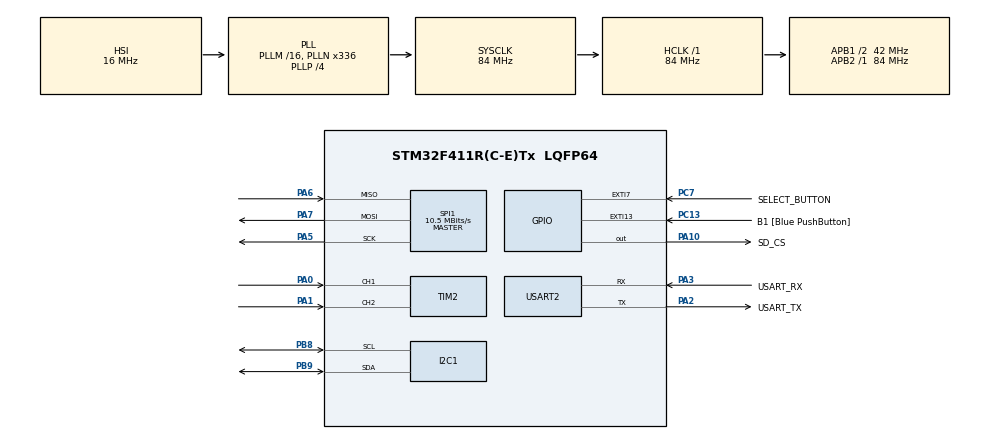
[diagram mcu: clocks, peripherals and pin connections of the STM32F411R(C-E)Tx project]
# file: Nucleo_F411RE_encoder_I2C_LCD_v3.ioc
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Mcu.Family=STM32F4
Mcu.Name=STM32F411R(C-E)Tx
Mcu.Package=LQFP64
NVIC.EXTI9_5_IRQn=true\:0\:0\:false\:false\:true\:true\:true
NVIC.PriorityGroup=NVIC_PRIORITYGROUP_0
NVIC.TIM1_UP_TIM10_IRQn=true\:0\:0\:false\:false\:true\:true\:true
PA0-WKUP.Signal=S_TIM2_CH1_ETR
PA1.Signal=S_TIM2_CH2
PA10.GPIO_Label=SD_CS
PA10.Signal=GPIO_Output
PA13.GPIO_Label=TMS
PA13.Mode=Serial_Wire
PA13.Signal=SYS_JTMS-SWDIO
PA14.GPIO_Label=TCK
PA14.Mode=Serial_Wire
PA14.Signal=SYS_JTCK-SWCLK
PA2.GPIO_Label=USART_TX
PA2.Mode=Asynchronous
PA2.Signal=USART2_TX
PA3.GPIO_Label=USART_RX
PA3.Mode=Asynchronous
PA3.Signal=USART2_RX
PA5.Mode=Full_Duplex_Master
PA5.Signal=SPI1_SCK
PA6.Mode=Full_Duplex_Master
PA6.Signal=SPI1_MISO
PA7.Mode=Full_Duplex_Master
PA7.Signal=SPI1_MOSI
PB3.Signal=SYS_JTDO-SWO
PB8.Mode=I2C
PB8.Signal=I2C1_SCL
PB9.Mode=I2C
PB9.Signal=I2C1_SDA
PC13-ANTI_TAMP.GPIO_Label=B1 [Blue PushButton]
PC13-ANTI_TAMP.GPIO_ModeDefaultEXTI=GPIO_MODE_IT_FALLING
PC13-ANTI_TAMP.Signal=GPXTI13
PC14-OSC32_IN.Mode=LSE-External-Oscillator
PC14-OSC32_IN.Signal=RCC_OSC32_IN
PC15-OSC32_OUT.Mode=LSE-External-Oscillator
PC15-OSC32_OUT.Signal=RCC_OSC32_OUT
PC7.GPIO_Label=SELECT_BUTTON
PC7.Signal=GPXTI7
PH0\ -\ OSC_IN.Mode=HSE-External-Clock-Source
PH0\ -\ OSC_IN.Signal=RCC_OSC_IN
PH1\ -\ OSC_OUT.Mode=HSE-External-Clock-Source
PH1\ -\ OSC_OUT.Signal=RCC_OSC_OUT
ProjectManager.HeapSize=0x200
ProjectManager.StackSize=0x400
ProjectManager.TargetToolchain=STM32CubeIDE
RCC.48MHZClocksFreq_Value=84000000
RCC.AHBFreq_Value=84000000
RCC.APB1CLKDivider=RCC_HCLK_DIV2
RCC.APB1Freq_Value=42000000
RCC.APB1TimFreq_Value=84000000
RCC.APB2Freq_Value=84000000
RCC.APB2TimFreq_Value=84000000
RCC.CortexFreq_Value=84000000
RCC.FLatency-AdvancedSettings=FLASH_LATENCY_2
RCC.HCLKFreq_Value=84000000
RCC.HSE_VALUE=8000000
RCC.HSI_VALUE=16000000
RCC.PLLN=336
RCC.PLLP=RCC_PLLP_DIV4
RCC.SYSCLKFreq_VALUE=84000000
RCC.SYSCLKSource=RCC_SYSCLKSOURCE_PLLCLK
RCC.VCOOutputFreq_Value=336000000
SH.S_TIM2_CH1_ETR.0=TIM2_CH1,Encoder_Interface
SH.S_TIM2_CH2.0=TIM2_CH2,Encoder_Interface
SPI1.BaudRatePrescaler=SPI_BAUDRATEPRESCALER_8
SPI1.CalculateBaudRate=10.5 MBits/s
SPI1.Direction=SPI_DIRECTION_2LINES
SPI1.Mode=SPI_MODE_MASTER
SPI1.VirtualType=VM_MASTER
TIM1.Period=62499
TIM1.Prescaler=63
USART2.VirtualMode=VM_ASYNC
VP_TIM1_VS_ClockSourceINT.Mode=Internal
board=NUCLEO-F411RE

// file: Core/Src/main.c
/* USER CODE BEGIN Header */

//https://deepbluembedded.com/stm32-timer-encoder-mode-stm32-rotary-encoder-interfacing/

// ENCODER
// PA0     ------> TIM2_CH1
// PA1     ------> TIM2_CH2
// In stm32f4xx_hal_msp.c change GPIO_NOPULL to GPIO_PULLUP
// GPIO_InitStruct.Pull = GPIO_PULLUP;

// LCD pinout
// PB9    ------> I2C1_SDA
// PB8    ------> I2C1_SDL
// #define SLAVE_ADDRESS_LCD (0x20<<1)  in i2c_HD44780.c file

// debouncing
// https://www.instructables.com/STM32CubeMX-Button-Debounce-With-Interrupt

/**
 ******************************************************************************
 * @file           : main.c
 * @brief          : Main program body
 ******************************************************************************
 * @attention
 *
 * <h2><center>&copy; Copyright (c) 2020 STMicroelectronics.
 * All rights reserved.</center></h2>
 *
 * This software component is licensed by ST under BSD 3-Clause license,
 * the "License"; You may not use this file except in compliance with the
 * License. You may obtain a copy of the License at:
 *                        opensource.org/licenses/BSD-3-Clause
 *
 ******************************************************************************
 */
/* USER CODE END Header */
#include "main.h"

/* USER CODE BEGIN Includes */
#include <stdbool.h>
#include "stm32f4xx_hal.h"
#include <stdio.h>
#include <stdlib.h>
#include <string.h>
#include <i2c_HD44780.h>

/* USER CODE END Includes */

I2C_HandleTypeDef hi2c1;

SPI_HandleTypeDef hspi1;

TIM_HandleTypeDef htim1;
TIM_HandleTypeDef htim2;

UART_HandleTypeDef huart2;

/* USER CODE BEGIN PV */
bool SELECT_BUTTON_state = true;

/* USER CODE END PV */

void SystemClock_Config(void);
static void MX_GPIO_Init(void);
static void MX_USART2_UART_Init(void);
static void MX_TIM2_Init(void);
static void MX_I2C1_Init(void);
static void MX_TIM1_Init(void);
static void MX_SPI1_Init(void);

/* USER CODE BEGIN 0 */

// WARNING UART2 is connected to st-link
int _write(int file, char *ptr, int len)
{
	HAL_UART_Transmit(&huart2,(uint8_t *)ptr,len,10);
	return len;
}

/*
int _write(int file, char *ptr, int len)
{
	for (uint8_t i=0; i<len; i++){
		LL_USART_TransmitData8(USART2, ptr[i]);
		while ( !LL_USART_IsActiveFlag_TXE(USART2) )
		{
		}
	}
	return len;
}

int UART_Transmit(USART_TypeDef *UART, uint8_t *ptr, int len){
	for (uint8_t i=0; i<len; i++){
		LL_USART_TransmitData8(UART, ptr[i]);
		while ( !LL_USART_IsActiveFlag_TXE(UART) )
		{
		}
	}
	return 0;
}
 */

/* USER CODE END 0 */

int main(void)
{

  /* MCU Configuration--------------------------------------------------------*/

  /* Reset of all peripherals, Initializes the Flash interface and the Systick. */
  HAL_Init();

  /* Configure the system clock */
  SystemClock_Config();

  /* Initialize all configured peripherals */
  MX_GPIO_Init();
  MX_USART2_UART_Init();
  MX_TIM2_Init();
  MX_I2C1_Init();
  MX_TIM1_Init();
  MX_SPI1_Init();
  /* USER CODE BEGIN 2 */

	printf("Start\n");

	lcd_init ();

	lcd_clear_display();
	lcd_home();

	HAL_TIM_Encoder_Start(&htim2, TIM_CHANNEL_ALL);

  /* USER CODE END 2 */

  /* Infinite loop */
	while (1)
	{

    /* USER CODE BEGIN 3 */
		//printf("%lu \n", __HAL_TIM_GET_COUNTER(&htim2));

		char str[21];
		snprintf(str, 21, "%20lu", __HAL_TIM_GET_COUNTER(&htim2));
		lcd_locate(1, 1);
		lcd_print_string (str);

		//HAL_Delay(500);
	}
  /* USER CODE END 3 */
}

void SystemClock_Config(void)
{
  RCC_OscInitTypeDef RCC_OscInitStruct = {0};
  RCC_ClkInitTypeDef RCC_ClkInitStruct = {0};

  /** Configure the main internal regulator output voltage
  */
  __HAL_RCC_PWR_CLK_ENABLE();
  __HAL_PWR_VOLTAGESCALING_CONFIG(PWR_REGULATOR_VOLTAGE_SCALE1);
  /** Initializes the RCC Oscillators according to the specified parameters
  * in the RCC_OscInitTypeDef structure.
  */
  RCC_OscInitStruct.OscillatorType = RCC_OSCILLATORTYPE_HSI;
  RCC_OscInitStruct.HSIState = RCC_HSI_ON;
  RCC_OscInitStruct.HSICalibrationValue = RCC_HSICALIBRATION_DEFAULT;
  RCC_OscInitStruct.PLL.PLLState = RCC_PLL_ON;
  RCC_OscInitStruct.PLL.PLLSource = RCC_PLLSOURCE_HSI;
  RCC_OscInitStruct.PLL.PLLM = 16;
  RCC_OscInitStruct.PLL.PLLN = 336;
  RCC_OscInitStruct.PLL.PLLP = RCC_PLLP_DIV4;
  RCC_OscInitStruct.PLL.PLLQ = 4;
  if (HAL_RCC_OscConfig(&RCC_OscInitStruct) != HAL_OK)
  {
    Error_Handler();
  }
  /** Initializes the CPU, AHB and APB buses clocks
  */
  RCC_ClkInitStruct.ClockType = RCC_CLOCKTYPE_HCLK|RCC_CLOCKTYPE_SYSCLK
                              |RCC_CLOCKTYPE_PCLK1|RCC_CLOCKTYPE_PCLK2;
  RCC_ClkInitStruct.SYSCLKSource = RCC_SYSCLKSOURCE_PLLCLK;
  RCC_ClkInitStruct.AHBCLKDivider = RCC_SYSCLK_DIV1;
  RCC_ClkInitStruct.APB1CLKDivider = RCC_HCLK_DIV2;
  RCC_ClkInitStruct.APB2CLKDivider = RCC_HCLK_DIV1;

  if (HAL_RCC_ClockConfig(&RCC_ClkInitStruct, FLASH_LATENCY_2) != HAL_OK)
  {
    Error_Handler();
  }
}

static void MX_I2C1_Init(void)
{

  hi2c1.Instance = I2C1;
  hi2c1.Init.ClockSpeed = 100000;
  hi2c1.Init.DutyCycle = I2C_DUTYCYCLE_2;
  hi2c1.Init.OwnAddress1 = 0;
  hi2c1.Init.AddressingMode = I2C_ADDRESSINGMODE_7BIT;
  hi2c1.Init.DualAddressMode = I2C_DUALADDRESS_DISABLE;
  hi2c1.Init.OwnAddress2 = 0;
  hi2c1.Init.GeneralCallMode = I2C_GENERALCALL_DISABLE;
  hi2c1.Init.NoStretchMode = I2C_NOSTRETCH_DISABLE;
  if (HAL_I2C_Init(&hi2c1) != HAL_OK)
  {
    Error_Handler();
  }

}

static void MX_SPI1_Init(void)
{

  /* SPI1 parameter configuration*/
  hspi1.Instance = SPI1;
  hspi1.Init.Mode = SPI_MODE_MASTER;
  hspi1.Init.Direction = SPI_DIRECTION_2LINES;
  hspi1.Init.DataSize = SPI_DATASIZE_8BIT;
  hspi1.Init.CLKPolarity = SPI_POLARITY_LOW;
  hspi1.Init.CLKPhase = SPI_PHASE_1EDGE;
  hspi1.Init.NSS = SPI_NSS_SOFT;
  hspi1.Init.BaudRatePrescaler = SPI_BAUDRATEPRESCALER_8;
  hspi1.Init.FirstBit = SPI_FIRSTBIT_MSB;
  hspi1.Init.TIMode = SPI_TIMODE_DISABLE;
  hspi1.Init.CRCCalculation = SPI_CRCCALCULATION_DISABLE;
  hspi1.Init.CRCPolynomial = 10;
  if (HAL_SPI_Init(&hspi1) != HAL_OK)
  {
    Error_Handler();
  }

}

static void MX_TIM1_Init(void)
{

  TIM_ClockConfigTypeDef sClockSourceConfig = {0};
  TIM_MasterConfigTypeDef sMasterConfig = {0};

  htim1.Instance = TIM1;
  htim1.Init.Prescaler = 63;
  htim1.Init.CounterMode = TIM_COUNTERMODE_UP;
  htim1.Init.Period = 62499;
  htim1.Init.ClockDivision = TIM_CLOCKDIVISION_DIV1;
  htim1.Init.RepetitionCounter = 0;
  htim1.Init.AutoReloadPreload = TIM_AUTORELOAD_PRELOAD_DISABLE;
  if (HAL_TIM_Base_Init(&htim1) != HAL_OK)
  {
    Error_Handler();
  }
  sClockSourceConfig.ClockSource = TIM_CLOCKSOURCE_INTERNAL;
  if (HAL_TIM_ConfigClockSource(&htim1, &sClockSourceConfig) != HAL_OK)
  {
    Error_Handler();
  }
  sMasterConfig.MasterOutputTrigger = TIM_TRGO_RESET;
  sMasterConfig.MasterSlaveMode = TIM_MASTERSLAVEMODE_DISABLE;
  if (HAL_TIMEx_MasterConfigSynchronization(&htim1, &sMasterConfig) != HAL_OK)
  {
    Error_Handler();
  }

}

static void MX_TIM2_Init(void)
{

  TIM_Encoder_InitTypeDef sConfig = {0};
  TIM_MasterConfigTypeDef sMasterConfig = {0};

  htim2.Instance = TIM2;
  htim2.Init.Prescaler = 0;
  htim2.Init.CounterMode = TIM_COUNTERMODE_UP;
  htim2.Init.Period = 4294967295;
  htim2.Init.ClockDivision = TIM_CLOCKDIVISION_DIV1;
  htim2.Init.AutoReloadPreload = TIM_AUTORELOAD_PRELOAD_DISABLE;
  sConfig.EncoderMode = TIM_ENCODERMODE_TI1;
  sConfig.IC1Polarity = TIM_ICPOLARITY_RISING;
  sConfig.IC1Selection = TIM_ICSELECTION_DIRECTTI;
  sConfig.IC1Prescaler = TIM_ICPSC_DIV1;
  sConfig.IC1Filter = 0;
  sConfig.IC2Polarity = TIM_ICPOLARITY_RISING;
  sConfig.IC2Selection = TIM_ICSELECTION_DIRECTTI;
  sConfig.IC2Prescaler = TIM_ICPSC_DIV1;
  sConfig.IC2Filter = 0;
  if (HAL_TIM_Encoder_Init(&htim2, &sConfig) != HAL_OK)
  {
    Error_Handler();
  }
  sMasterConfig.MasterOutputTrigger = TIM_TRGO_RESET;
  sMasterConfig.MasterSlaveMode = TIM_MASTERSLAVEMODE_DISABLE;
  if (HAL_TIMEx_MasterConfigSynchronization(&htim2, &sMasterConfig) != HAL_OK)
  {
    Error_Handler();
  }

}

static void MX_USART2_UART_Init(void)
{

  huart2.Instance = USART2;
  huart2.Init.BaudRate = 115200;
  huart2.Init.WordLength = UART_WORDLENGTH_8B;
  huart2.Init.StopBits = UART_STOPBITS_1;
  huart2.Init.Parity = UART_PARITY_NONE;
  huart2.Init.Mode = UART_MODE_TX_RX;
  huart2.Init.HwFlowCtl = UART_HWCONTROL_NONE;
  huart2.Init.OverSampling = UART_OVERSAMPLING_16;
  if (HAL_UART_Init(&huart2) != HAL_OK)
  {
    Error_Handler();
  }

}

static void MX_GPIO_Init(void)
{
  GPIO_InitTypeDef GPIO_InitStruct = {0};

  /* GPIO Ports Clock Enable */
  __HAL_RCC_GPIOC_CLK_ENABLE();
  __HAL_RCC_GPIOH_CLK_ENABLE();
  __HAL_RCC_GPIOA_CLK_ENABLE();
  __HAL_RCC_GPIOB_CLK_ENABLE();

  /*Configure GPIO pin Output Level */
  HAL_GPIO_WritePin(SD_CS_GPIO_Port, SD_CS_Pin, GPIO_PIN_RESET);

  /*Configure GPIO pin : B1_Pin */
  GPIO_InitStruct.Pin = B1_Pin;
  GPIO_InitStruct.Mode = GPIO_MODE_IT_FALLING;
  GPIO_InitStruct.Pull = GPIO_NOPULL;
  HAL_GPIO_Init(B1_GPIO_Port, &GPIO_InitStruct);

  /*Configure GPIO pin : SELECT_BUTTON_Pin */
  GPIO_InitStruct.Pin = SELECT_BUTTON_Pin;
  GPIO_InitStruct.Mode = GPIO_MODE_IT_RISING;
  GPIO_InitStruct.Pull = GPIO_NOPULL;
  HAL_GPIO_Init(SELECT_BUTTON_GPIO_Port, &GPIO_InitStruct);

  /*Configure GPIO pin : SD_CS_Pin */
  GPIO_InitStruct.Pin = SD_CS_Pin;
  GPIO_InitStruct.Mode = GPIO_MODE_OUTPUT_PP;
  GPIO_InitStruct.Pull = GPIO_NOPULL;
  GPIO_InitStruct.Speed = GPIO_SPEED_FREQ_LOW;
  HAL_GPIO_Init(SD_CS_GPIO_Port, &GPIO_InitStruct);

  /* EXTI interrupt init*/
  HAL_NVIC_SetPriority(EXTI9_5_IRQn, 0, 0);
  HAL_NVIC_EnableIRQ(EXTI9_5_IRQn);

}

/* USER CODE BEGIN 4 */

//void HAL_GPIO_EXTI_Callback(uint16_t GPIO_Pin)
//{
//  if(GPIO_Pin == GPIO_PIN_0) {
//    HAL_GPIO_TogglePin(GPIOG, GPIO_PIN_14);
//  } else {
//      __NOP();
//  }
//}

void HAL_GPIO_EXTI_Callback(uint16_t GPIO_Pin)
{
	if(GPIO_Pin == SELECT_BUTTON_Pin && SELECT_BUTTON_state == true){
		HAL_TIM_Base_Start_IT(&htim1);
		printf("GPIO interrupt TIM1 started\n");
		SELECT_BUTTON_state = false;
	}
	else{
		__NOP();
	}
}

void HAL_TIM_PeriodElapsedCallback(TIM_HandleTypeDef *htim)
{
	/* NOTE : This function should not be modified, when the callback is needed,
            the HAL_TIM_PeriodElapsedCallback could be implemented in the user file
	 */
	if (htim->Instance==TIM1){
		if(HAL_GPIO_ReadPin(SELECT_BUTTON_GPIO_Port, SELECT_BUTTON_Pin) == GPIO_PIN_RESET){
			SELECT_BUTTON_state = true;
			printf("SELECT_BUTTON pressed %lu\n", __HAL_TIM_GET_COUNTER(&htim2));
			HAL_TIM_Base_Stop_IT(&htim1);
		}
	}
}

/* USER CODE END 4 */

void Error_Handler(void)
{
}

/************************ (C) COPYRIGHT STMicroelectronics *****END OF FILE****/
